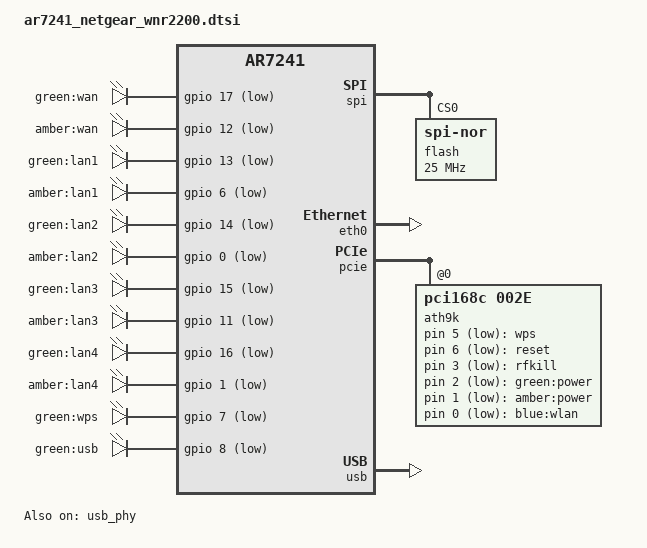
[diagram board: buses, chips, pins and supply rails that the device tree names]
// SPDX-License-Identifier: GPL-2.0-or-later OR MIT

#include "ar7241.dtsi"

#include <dt-bindings/gpio/gpio.h>
#include <dt-bindings/input/input.h>
#include <dt-bindings/mtd/partitions/uimage.h>

/ {
	chosen {
		bootargs = "console=ttyS0,115200n8";
	};

	aliases {
		led-boot = &led_power_amber;
		led-failsafe = &led_power_amber;
		led-running = &led_power_green;
		led-upgrade = &led_power_amber;
		label-mac-device = &eth1;
	};

	ath9k-keys {
		compatible = "gpio-keys-polled";
		poll-interval = <20>;

		wps {
			label = "wps";
			linux,code = <KEY_WPS_BUTTON>;
			gpios = <&ath9k 5 GPIO_ACTIVE_LOW>;
			debounce-interval = <60>;
		};

		reset {
			label = "reset";
			linux,code = <KEY_RESTART>;
			gpios = <&ath9k 6 GPIO_ACTIVE_LOW>;
			debounce-interval = <60>;
		};

		rfkill {
			label = "rfkill";
			linux,code = <KEY_RFKILL>;
			gpios = <&ath9k 3 GPIO_ACTIVE_LOW>;
			debounce-interval = <60>;
		};
	};

	leds {
		compatible = "gpio-leds";

		pinctrl-names = "default";
		pinctrl-0 = <&jtag_disable_pins &switch_led_disable_pins &clks_disable_pins>;

		wan_green {
			label = "green:wan";
			gpios = <&gpio 17 GPIO_ACTIVE_LOW>;
		};

		wan_amber {
			label = "amber:wan";
			gpios = <&gpio 12 GPIO_ACTIVE_LOW>;
		};

		lan1_green {
			label = "green:lan1";
			gpios = <&gpio 13 GPIO_ACTIVE_LOW>;
		};

		lan1_amber {
			label = "amber:lan1";
			gpios = <&gpio 6 GPIO_ACTIVE_LOW>;
		};

		lan2_green {
			label = "green:lan2";
			gpios = <&gpio 14 GPIO_ACTIVE_LOW>;
		};

		lan2_amber {
			label = "amber:lan2";
			gpios = <&gpio 0 GPIO_ACTIVE_LOW>;
		};

		lan3_green {
			label = "green:lan3";
			gpios = <&gpio 15 GPIO_ACTIVE_LOW>;
		};

		lan3_amber {
			label = "amber:lan3";
			gpios = <&gpio 11 GPIO_ACTIVE_LOW>;
		};

		lan4_green {
			label = "green:lan4";
			gpios = <&gpio 16 GPIO_ACTIVE_LOW>;
		};

		lan4_amber {
			label = "amber:lan4";
			gpios = <&gpio 1 GPIO_ACTIVE_LOW>;
		};

		wps_green {
			label = "green:wps";
			gpios = <&gpio 7 GPIO_ACTIVE_LOW>;
		};

		usb_green {
			label = "green:usb";
			gpios = <&gpio 8 GPIO_ACTIVE_LOW>;
			trigger-sources = <&hub_port>;
			linux,default-trigger = "usbport";
		};
	};

	ath9k-leds {
		compatible = "gpio-leds";

		led_power_green: power_green {
			label = "green:power";
			gpios = <&ath9k 2 GPIO_ACTIVE_LOW>;
		};

		led_power_amber: power_amber {
			label = "amber:power";
			gpios = <&ath9k 1 GPIO_ACTIVE_LOW>;
			default-state = "keep";
		};

		wlan_blue {
			label = "blue:wlan";
			gpios = <&ath9k 0 GPIO_ACTIVE_LOW>;
			linux,default-trigger = "phy0tpt";
		};
	};
};

&spi {
	status = "okay";

	flash@0 {
		compatible = "jedec,spi-nor";
		reg = <0>;
		spi-max-frequency = <25000000>;

		partitions: partitions {
			compatible = "fixed-partitions";
			#address-cells = <1>;
			#size-cells = <1>;
		};
	};
};

&eth0 {
	status = "okay";

	mtd-mac-address = <&art 0x0>;
};

&eth1 {
	compatible = "qca,ar7241-eth", "syscon", "simple-mfd";

	mtd-mac-address = <&art 0x6>;
};

&pcie {
	status = "okay";

	ath9k: wifi@0,0 {
		compatible = "pci168c,002e";
		reg = <0x0000 0 0 0 0>;
		mtd-mac-address = <&art 0x0>;
		mtd-mac-address-increment = <1>;
		qca,no-eeprom;
		#gpio-cells = <2>;
		gpio-controller;

		usb_power {
			gpio-hog;
			line-name = "netgear:power:usb";
			gpios = <4 GPIO_ACTIVE_HIGH>;
			output-high;
		};
	};
};

&usb_phy {
	status = "okay";
};

&usb {
	#address-cells = <1>;
	#size-cells = <0>;
	status = "okay";

	hub_port: port@1 {
		reg = <1>;
		#trigger-source-cells = <0>;
	};
};
